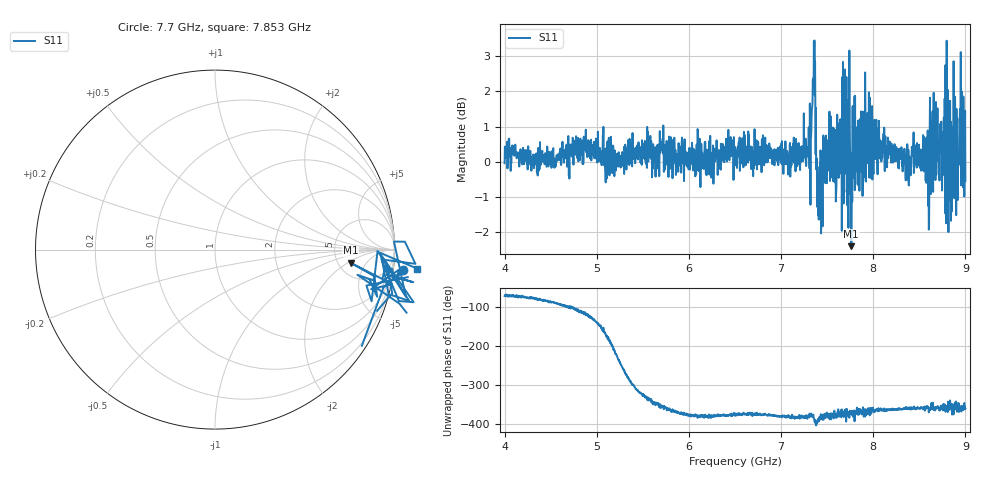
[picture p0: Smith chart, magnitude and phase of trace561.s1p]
! Created with skrf 1.8.0 (http://scikit-rf.org).
# Hz S RI R 50.0
!freq ReS11 ImS11
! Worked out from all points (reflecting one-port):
!   1601 points, 4 GHz to 9 GHz, reference 50 ohm
!   lowest |S11| = -2.4 dB at 7.762 GHz (marker M1), VSWR 7.29, Z = 325 - j112 ohm
!   phase of S11 starts at -72 deg and turns -288 deg over the sweep
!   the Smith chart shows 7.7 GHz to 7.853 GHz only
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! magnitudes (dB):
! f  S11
! 4 GHz  0.0
! 4.625 GHz  0.3
! 5.25 GHz  0.0
! 5.572 GHz  0.2
! 5.875 GHz  -0.3
! 6.5 GHz  0.2
! 7.125 GHz  0.4
! 7.294 GHz  0.3
! 7.347 GHz  2.3
! 7.369 GHz  2.8
! 7.391 GHz  -1.3
! 7.412 GHz  -1.4
! 7.538 GHz  1.3
! 7.578 GHz  0.7
! 7.688 GHz  1.8
! 7.75 GHz  0.2
! 7.762 GHz  -2.4
! 7.775 GHz  1.6
! 7.928 GHz  0.6
! 8.375 GHz  0.0
! 8.566 GHz  -0.1
! 8.584 GHz  0.2
! 8.656 GHz  2.0
! 8.766 GHz  1.3
! 8.784 GHz  2.7
! 8.841 GHz  1.1
! 8.959 GHz  2.0
! 9 GHz  -0.5
